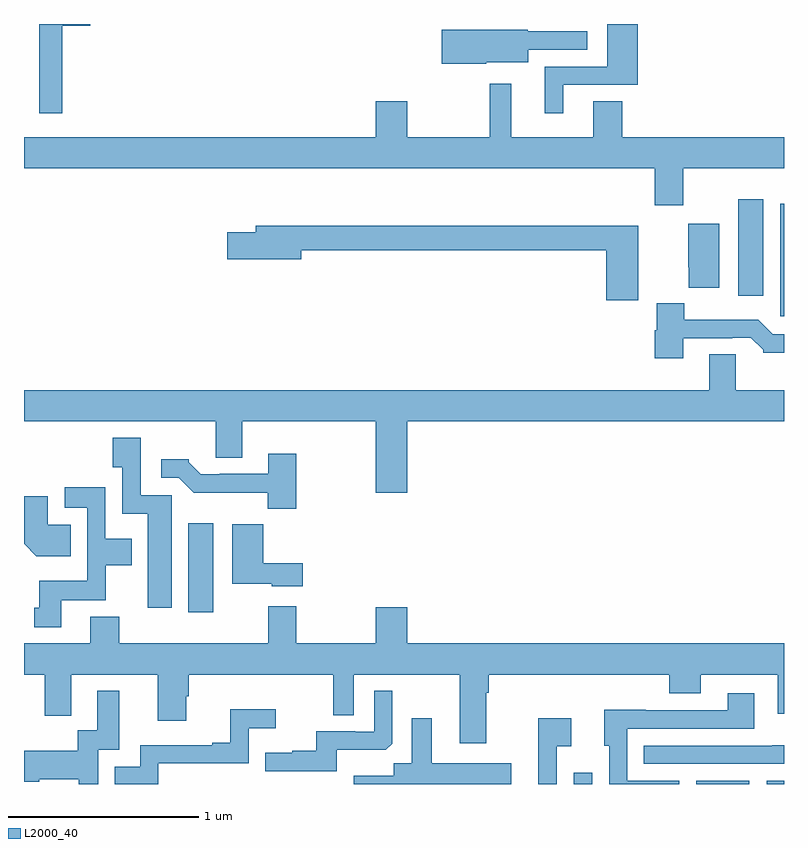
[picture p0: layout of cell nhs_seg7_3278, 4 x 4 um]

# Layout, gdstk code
import gdstk
lib = gdstk.Library(unit=1e-6, precision=1e-09)
def R(c, l, rs):  # rectangles x0, y0, x1, y1
    for r in rs: c.add(gdstk.rectangle(r[:2], r[2:], *l))
def P(c, l, *ps):  # polygons
    for p in ps: c.add(gdstk.Polygon(p, *l))
L2000_40 = (2000, 40)

nhs_seg7_3278 = lib.new_cell('nhs_seg7_3278')
R(nhs_seg7_3278, L2000_40, [(321.894,1040,321.99,1040.059), (322.538,1040,322.816,1040.017), (322.91,1040,323,1040.017), (319.865,1040.904,319.996,1041.373), (322.979,1042.461,323,1043.053), (322.76,1042.569,322.891,1043.077)])
P(nhs_seg7_3278, L2000_40, [(321.838,1043.679),(322.229,1043.679),(322.229,1044),(322.07,1044),(322.07,1043.775),(321.74,1043.775),(321.74,1043.529),(321.838,1043.529)],
  [(319.201,1043.99),(319.348,1043.99),(319.348,1044),(319.079,1044),(319.079,1043.529),(319.201,1043.529)],
  [(321.432,1043.798),(321.655,1043.798),(321.655,1043.865),(321.964,1043.865),(321.964,1043.961),(321.651,1043.961),(321.651,1043.969),(321.198,1043.969),(321.198,1043.791),(321.432,1043.791)],
  [(322.471,1043.24),(323,1043.24),(323,1043.404),(322.148,1043.404),(322.148,1043.594),(321.995,1043.594),(321.995,1043.404),(321.565,1043.404),(321.565,1043.686),(321.451,1043.686),(321.451,1043.404),(321.016,1043.404),(321.016,1043.593),(320.852,1043.593),(320.852,1043.404),(319,1043.404),(319,1043.24),(322.319,1043.24),(322.319,1043.046),(322.471,1043.046)],
  [(322.66,1042.948),(322.496,1042.948),(322.496,1042.72),(322.498,1042.72),(322.498,1042.613),(322.66,1042.613)],
  [(322.234,1042.939),(320.219,1042.939),(320.219,1042.905),(320.07,1042.905),(320.07,1042.763),(320.458,1042.763),(320.458,1042.81),(322.064,1042.81),(322.064,1042.545),(322.234,1042.545)],
  [(322.471,1042.347),(322.727,1042.347),(322.727,1042.35),(322.826,1042.35),(322.89,1042.286),(322.89,1042.271),(323,1042.271),(323,1042.368),(322.941,1042.368),(322.865,1042.444),(322.474,1042.444),(322.474,1042.531),(322.331,1042.531),(322.331,1042.389),(322.319,1042.389),(322.319,1042.242),(322.471,1042.242)],
  [(321.016,1041.908),(323,1041.908),(323,1042.072),(322.747,1042.072),(322.747,1042.262),(322.607,1042.262),(322.607,1042.072),(319,1042.072),(319,1041.908),(320.009,1041.908),(320.009,1041.718),(320.149,1041.718),(320.149,1041.908),(320.852,1041.908),(320.852,1041.534),(321.016,1041.534)],
  [(319.777,1041.519),(319.614,1041.519),(319.614,1041.823),(319.466,1041.823),(319.466,1041.667),(319.518,1041.667),(319.518,1041.422),(319.652,1041.422),(319.652,1040.928),(319.777,1040.928)],
  [(320.433,1041.739),(320.285,1041.739),(320.285,1041.633),(320.029,1041.633),(320.029,1041.63),(319.93,1041.63),(319.866,1041.694),(319.866,1041.709),(319.722,1041.709),(319.722,1041.612),(319.815,1041.612),(319.894,1041.534),(320.283,1041.534),(320.283,1041.449),(320.433,1041.449)],
  [(319.195,1040.966),(319.431,1040.966),(319.431,1041.152),(319.567,1041.152),(319.567,1041.292),(319.428,1041.292),(319.428,1041.562),(319.215,1041.562),(319.215,1041.453),(319.332,1041.453),(319.332,1041.07),(319.079,1041.07),(319.079,1040.928),(319.055,1040.928),(319.055,1040.826),(319.195,1040.826)],
  [(319.247,1041.364),(319.126,1041.364),(319.126,1041.514),(319,1041.514),(319,1041.264),(319.064,1041.2),(319.247,1041.2)],
  [(320.467,1041.163),(320.258,1041.163),(320.258,1041.367),(320.096,1041.367),(320.096,1041.053),(320.304,1041.053),(320.304,1041.041),(320.467,1041.041)],
  [(321.433,1040.48),(321.446,1040.48),(321.446,1040.576),(322.397,1040.576),(322.397,1040.477),(322.561,1040.477),(322.561,1040.576),(322.967,1040.576),(322.967,1040.37),(323,1040.37),(323,1040.74),(321.016,1040.74),(321.016,1040.929),(320.852,1040.929),(320.852,1040.74),(320.433,1040.74),(320.433,1040.935),(320.285,1040.935),(320.285,1040.74),(319.502,1040.74),(319.502,1040.881),(319.349,1040.881),(319.349,1040.74),(319,1040.74),(319,1040.576),(319.109,1040.576),(319.109,1040.358),(319.249,1040.358),(319.249,1040.576),(319.703,1040.576),(319.703,1040.334),(319.855,1040.334),(319.855,1040.463),(319.868,1040.463),(319.868,1040.576),(320.628,1040.576),(320.628,1040.362),(320.736,1040.362),(320.736,1040.576),(321.293,1040.576),(321.293,1040.214),(321.433,1040.214)],
  [(320.647,1040.18),(320.905,1040.18),(320.937,1040.211),(320.937,1040.491),(320.844,1040.491),(320.844,1040.274),(320.744,1040.274),(320.744,1040.277),(320.537,1040.277),(320.537,1040.176),(320.413,1040.176),(320.413,1040.164),(320.269,1040.164),(320.269,1040.067),(320.647,1040.067)],
  [(319.392,1040.181),(319.501,1040.181),(319.501,1040.491),(319.385,1040.491),(319.385,1040.282),(319.284,1040.282),(319.284,1040.176),(319,1040.176),(319,1040.012),(319.081,1040.012),(319.081,1040.024),(319.289,1040.024),(319.289,1040),(319.392,1040)],
  [(322.449,1040.016),(322.176,1040.016),(322.176,1040.292),(322.843,1040.292),(322.843,1040.478),(322.703,1040.478),(322.703,1040.388),(322.273,1040.388),(322.273,1040.39),(322.055,1040.39),(322.055,1040.202),(322.08,1040.202),(322.08,1040),(322.449,1040)],
  [(319.707,1040.109),(320.184,1040.109),(320.184,1040.294),(320.326,1040.294),(320.326,1040.393),(320.086,1040.393),(320.086,1040.218),(319.991,1040.218),(319.991,1040.205),(319.611,1040.205),(319.611,1040.091),(319.477,1040.091),(319.477,1040),(319.707,1040)],
  [(321.565,1040.11),(321.145,1040.11),(321.145,1040.347),(321.041,1040.347),(321.041,1040.108),(320.946,1040.108),(320.946,1040.044),(320.735,1040.044),(320.735,1040),(321.565,1040)],
  [(321.804,1040.198),(321.88,1040.198),(321.88,1040.347),(321.707,1040.347),(321.707,1040),(321.804,1040)],
  [(323,1040.203),(322.939,1040.203),(322.939,1040.202),(322.261,1040.202),(322.261,1040.106),(323,1040.106)])

lib.write_gds('nhs_seg7_3278.gds')
